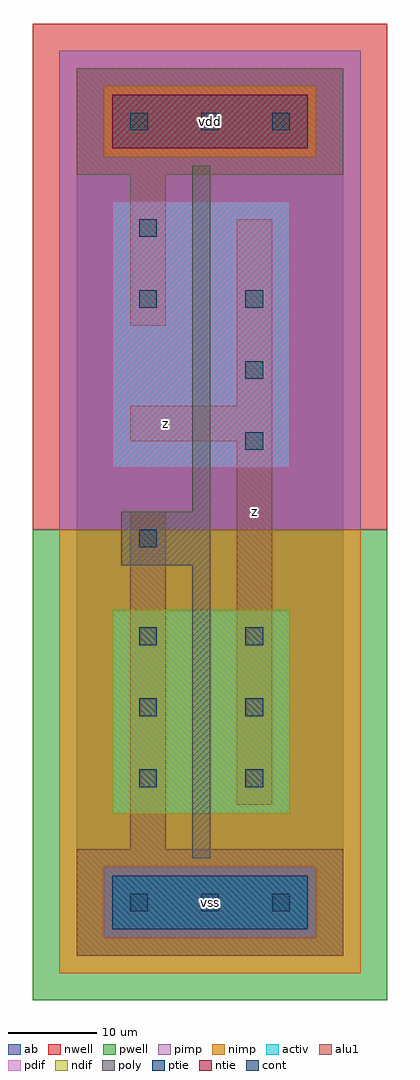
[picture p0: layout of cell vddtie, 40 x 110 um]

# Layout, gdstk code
import gdstk
lib = gdstk.Library(unit=1e-6, precision=1e-09)
def R(c, l, rs):  # rectangles x0, y0, x1, y1
    for r in rs: c.add(gdstk.rectangle(r[:2], r[2:], *l))
def A(c, l, x, y, w, h, nx, ny, dx, dy):  # array of equal rectangles
    R(c, l, [(x+i*dx, y+j*dy, x+i*dx+w, y+j*dy+h) for i in range(nx) for j in range(ny)])
ndif = (3, 0)
pdif = (4, 0)
ntie = (5, 0)
ptie = (6, 0)
cont = (25, 0)
pwell = (41, 0)
nwell = (42, 0)
activ = (43, 0)
pimp = (44, 0)
nimp = (45, 0)
poly = (46, 0)
alu1 = (49, 0)
ab = (63, 0)

vddtie = lib.new_cell('vddtie')
R(vddtie, ndif, [(4,16,24,39)])
R(vddtie, pdif, [(4,55,24,85)])
R(vddtie, ntie, [(4,91,26,97)])
R(vddtie, ptie, [(4,3,26,9)])
A(vddtie, cont, 6, 5, 2, 2, 3, 2, 8, 88)
A(vddtie, cont, 7, 19, 2, 2, 1, 3, 0, 8)
A(vddtie, cont, 19, 19, 2, 2, 1, 3, 0, 8)
A(vddtie, cont, 19, 57, 2, 2, 1, 3, 0, 8)
R(vddtie, cont, [(7,46,9,48), (7,73,9,75), (7,81,9,83)])
R(vddtie, pwell, [(-5,-5,35,48)])
R(vddtie, nwell, [(-5,48,35,105)])
R(vddtie, activ, [(4,3,26,9), (4,16,24,39), (4,55,24,85), (4,91,26,97)])
R(vddtie, pimp, [(3,2,27,10), (-2,48,32,90), (-2,90,3,98), (27,90,32,98), (-2,98,32,102)])
R(vddtie, nimp, [(-2,-2,32,2), (-2,2,3,10), (27,2,32,10), (-2,10,32,48), (3,90,27,98)])
R(vddtie, poly, [(13,11,15,44), (5,44,15,50), (13,50,15,89)])
R(vddtie, alu1, [(0,0,30,12), (6,12,10,50), (18,17,22,58), (6,58,22,62), (18,62,22,83), (6,71,10,88), (0,88,30,100)])
R(vddtie, ab, [(0,0,30,100)])
vddtie.add(gdstk.Label('vss', (15,6), layer=49, texttype=0))
vddtie.add(gdstk.Label('z', (10,60), layer=49, texttype=0))
vddtie.add(gdstk.Label('vdd', (15,94), layer=49, texttype=0))
vddtie.add(gdstk.Label('z', (20,50), layer=49, texttype=0))

lib.write_gds('vddtie.gds')
